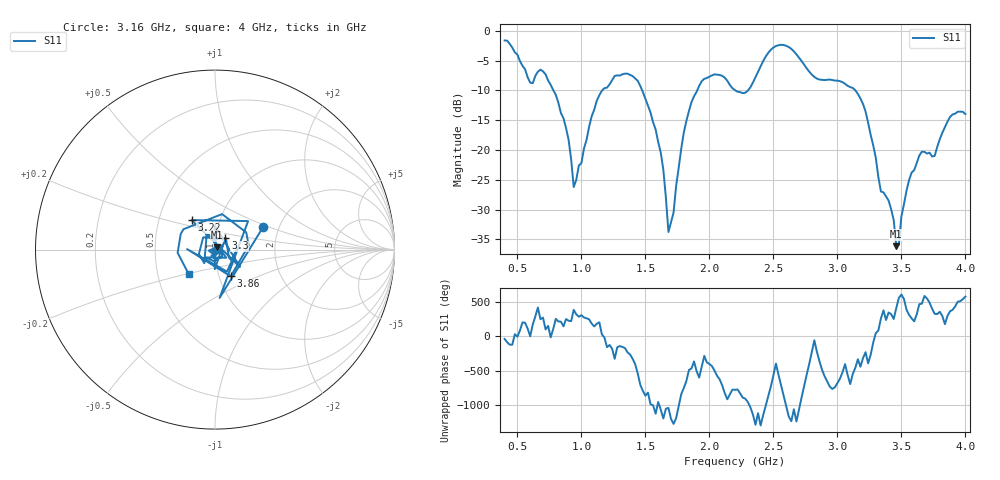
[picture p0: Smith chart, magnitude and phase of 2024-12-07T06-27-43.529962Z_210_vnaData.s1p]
!Created with skrf (http://scikit-rf.org).
# Hz S RI R 50.0
!freq ReS11 ImS11
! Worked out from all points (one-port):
!   181 points, 400 MHz to 4 GHz, reference 50 ohm
!   lowest |S11| = -36.2 dB at 3.46 GHz (marker M1), VSWR 1.03, Z = 50.9 + j1.29 ohm
!   |S11| at or under -10 dB: 781.1 MHz to 1.163 GHz (381.8 MHz wide, 39.3 % of centre); 1.475 GHz to 1.905 GHz (430.3 MHz wide, 25.5 % of centre); 3.14 GHz to end of sweep (the widest 3 of 4)
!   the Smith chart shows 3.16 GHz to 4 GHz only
!   S11 on the Smith chart (normalised r, x): 3.16 GHz: 1.65, +0.45; 3.22 GHz: 0.73, +0.25; 3.3 GHz: 1.11, +0.14; 3.86 GHz: 1.13, -0.35; 4 GHz: 0.72, -0.20
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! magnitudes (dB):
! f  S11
! 400 MHz  -1.6
! 600 MHz  -8.7
! 720 MHz  -7.3
! 860 MHz  -14.7
! 940 MHz  -26.2
! 1.12 GHz  -11.7
! 1.3 GHz  -7.5
! 1.44 GHz  -8.4
! 1.54 GHz  -13.7
! 1.62 GHz  -20.4
! 1.68 GHz  -33.8
! 1.76 GHz  -23.0
! 1.84 GHz  -13.5
! 1.94 GHz  -8.5
! 2.2 GHz  -10.0
! 2.3 GHz  -10.1
! 2.5 GHz  -2.8
! 2.66 GHz  -3.5
! 3.1 GHz  -9.4
! 3.16 GHz  -10.6
! 3.22 GHz  -13.6
! 3.3 GHz  -21.3
! 3.34 GHz  -27.0
! 3.44 GHz  -31.8
! 3.46 GHz  -36.2
! 3.56 GHz  -25.1
! 3.86 GHz  -15.3
! 4 GHz  -14.0
